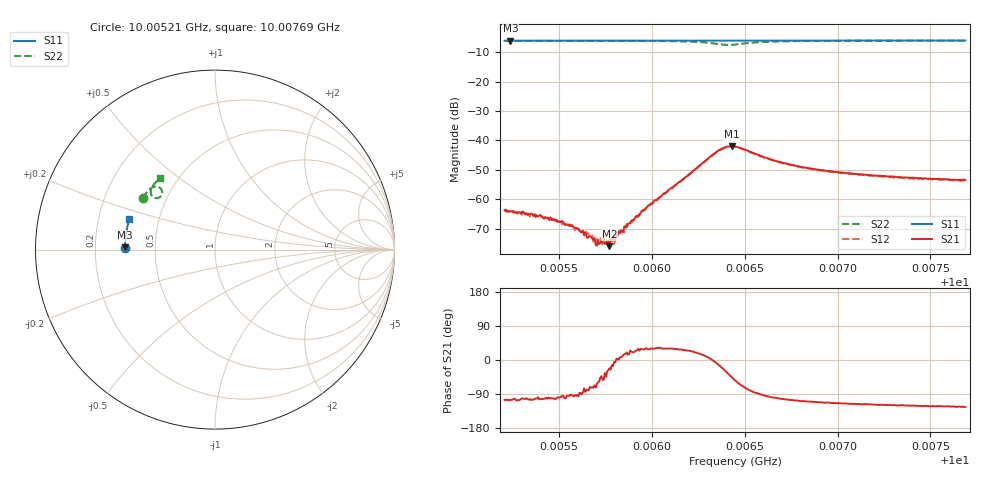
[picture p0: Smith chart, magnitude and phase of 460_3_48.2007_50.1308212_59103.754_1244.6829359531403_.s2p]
#  HZ  S  RI  R  50.00
! Rohde & Schwarz Vector Network Analyzer
! Rohde-Schwarz,ZNB20-2Port,1311601062101988,3.16
! Created: UTC 3/20/2024, 11:56:43 AM
! freq[Hz]  re:S11  im:S11  re:S21  im:S21  re:S12  im:S12  re:S22  im:S22
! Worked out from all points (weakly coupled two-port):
!   401 points, 10.00521 GHz to 10.00769 GHz, reference 50 ohm
!   highest |S21| = -41.95 dB at 10.00643 GHz (marker M1); lowest = -76.0 dB at 10.00577 GHz (marker M2)
!   lowest |S11| = -6.0 dB at 10.00524 GHz (marker M3), VSWR 3.01, Z = 16.6 + j0.559 ohm
!   |S11| at or under -10 dB: nowhere
!   |S22| runs from -7.5 to -6.0 dB; largest |S21 - S12| = 0.00047
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1.000521e10  -0.5006 0.0106  -0.000174 -0.000633  -0.000117 -0.000645  -0.402 0.2897
1.0005241e10  -0.5005 0.0126  -0.000161 -0.000601  -0.000122 -0.000643  -0.4007 0.2916
1.0005445e10  -0.5005 0.0259  -7.3e-05 -0.000457  -0.00011 -0.00047  -0.3922 0.3035
1.0005483e10  -0.5005 0.0283  -0.000104 -0.000431  -7.75e-05 -0.000418  -0.3906 0.3057
1.0005557e10  -0.5003 0.0332  -3.13e-05 -0.000369  6.16e-06 -0.000348  -0.3874 0.3103
1.0005625e10  -0.5001 0.0376  -2.59e-06 -0.00028  2.36e-05 -0.000269  -0.3842 0.3144
1.0005668e10  -0.5 0.0404  7.53e-05 -0.000219  7.79e-05 -0.000221  -0.382 0.3171
1.0005699e10  -0.4998 0.0423  5.06e-05 -0.000164  3.91e-05 -0.000193  -0.3803 0.319
1.0005712e10  -0.4997 0.0433  0.000106 -0.000173  9.08e-05 -0.000155  -0.3798 0.3197
1.0005749e10  -0.4998 0.0456  0.000143 -9.71e-05  0.000139 -0.00011  -0.3778 0.3221
1.0005774e10  -0.4996 0.0473  0.000147 -5.86e-05  0.000186 -7.01e-05  -0.3765 0.3235
1.0005798e10  -0.4996 0.0489  0.000236 -2.32e-05  0.000171 -5.69e-06  -0.375 0.3252
1.0005823e10  -0.4994 0.0505  0.000285 3.79e-06  0.000271 2.71e-05  -0.3736 0.3269
1.000604e10  -0.4981 0.0646  0.000898 0.000579  0.000871 0.000597  -0.3573 0.3412
1.000635e10  -0.4951 0.0845  0.00634 -0.000946  0.00625 -0.000581  -0.2967 0.3301
1.0006393e10  -0.4949 0.0871  0.0068 -0.00349  0.00683 -0.00304  -0.2962 0.307
1.000643e10  -0.4945 0.0891  0.00564 -0.00565  0.0058 -0.00528  -0.3102 0.2905
1.0006449e10  -0.4944 0.0902  0.00466 -0.00636  0.00493 -0.00598  -0.3201 0.2871
1.0006672e10  -0.4927 0.1044  -0.000786 -0.00436  -0.000609 -0.00434  -0.358 0.3286
1.0006864e10  -0.4902 0.1168  -0.00115 -0.0031  -0.000966 -0.0031  -0.3496 0.3504
1.0007279e10  -0.4842 0.1429  -0.00119 -0.00212  -0.00108 -0.00213  -0.3283 0.3774
1.0007688e10  -0.4768 0.1682  -0.0012 -0.00176  -0.00107 -0.00179  -0.3072 0.3977
